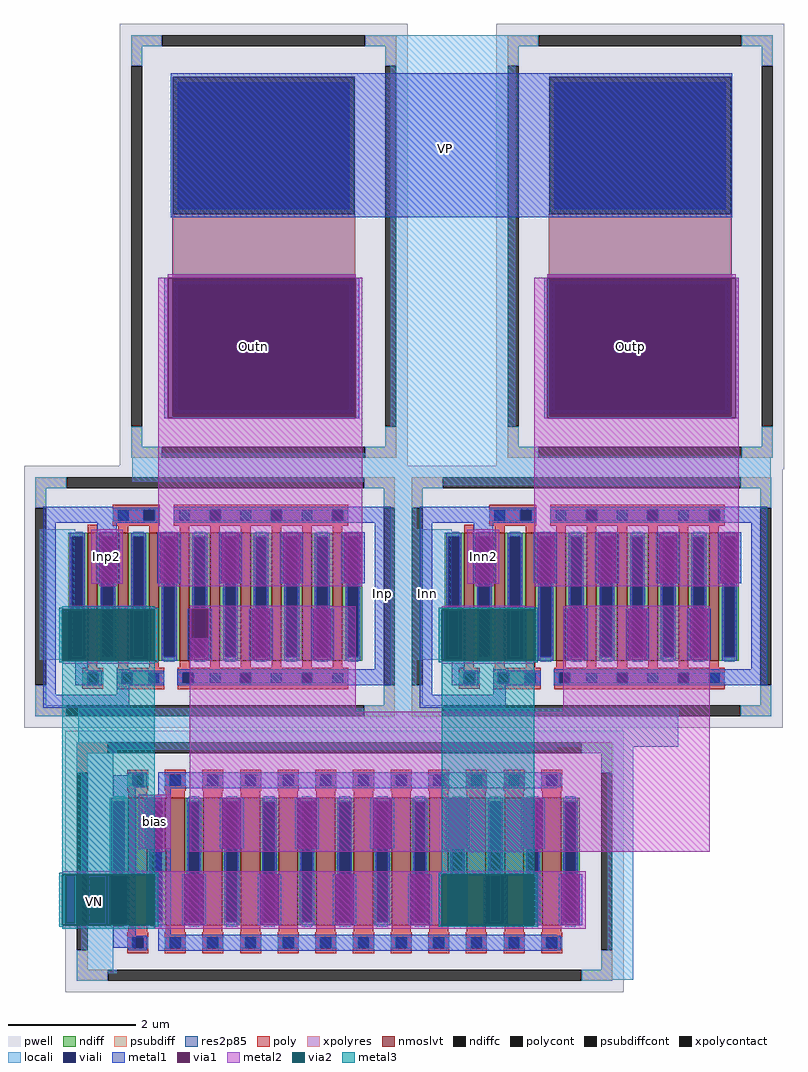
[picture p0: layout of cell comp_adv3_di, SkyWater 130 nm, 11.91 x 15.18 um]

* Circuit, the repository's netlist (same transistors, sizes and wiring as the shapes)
* expanding   symbol:  comp/comp_adv3_di.sym # of pins=9
** sym_path: /home/simon/code/particle_detector/xschem/comp/comp_adv3_di.sym
** sch_path: /home/simon/code/particle_detector/xschem/comp/comp_adv3_di.sch
.subckt comp_adv3_di  VP OutP OutN Inn Inp Inn2 Inp2 bias VN
*.ipin Inp
*.ipin bias
*.ipin Inn
*.iopin VP
*.iopin VN
*.opin OutN
*.opin OutP
*.ipin Inn2
*.ipin Inp2
XM1 OutN Inp VIq VN sky130_fd_pr__nfet_01v8_lvt L=0.15 W=2 nf=1 ad='int((nf+1)/2) * W/nf * 0.29' as='int((nf+2)/2) * W/nf * 0.29'
+ pd='2*int((nf+1)/2) * (W/nf + 0.29)' ps='2*int((nf+2)/2) * (W/nf + 0.29)' nrd='0.29 / W' nrs='0.29 / W'
+ sa=0 sb=0 sd=0 mult=6 m=6
XM2 OutP Inn VIq VN sky130_fd_pr__nfet_01v8_lvt L=0.15 W=2 nf=1 ad='int((nf+1)/2) * W/nf * 0.29' as='int((nf+2)/2) * W/nf * 0.29'
+ pd='2*int((nf+1)/2) * (W/nf + 0.29)' ps='2*int((nf+2)/2) * (W/nf + 0.29)' nrd='0.29 / W' nrs='0.29 / W'
+ sa=0 sb=0 sd=0 mult=6 m=6
XM7 bias bias VN VN sky130_fd_pr__nfet_01v8_lvt L=0.3 W=2 nf=1 ad='int((nf+1)/2) * W/nf * 0.29' as='int((nf+2)/2) * W/nf * 0.29'
+ pd='2*int((nf+1)/2) * (W/nf + 0.29)' ps='2*int((nf+2)/2) * (W/nf + 0.29)' nrd='0.29 / W' nrs='0.29 / W'
+ sa=0 sb=0 sd=0 mult=1 m=1
XM9 VIq bias VN VN sky130_fd_pr__nfet_01v8_lvt L=0.3 W=2 nf=1 ad='int((nf+1)/2) * W/nf * 0.29' as='int((nf+2)/2) * W/nf * 0.29'
+ pd='2*int((nf+1)/2) * (W/nf + 0.29)' ps='2*int((nf+2)/2) * (W/nf + 0.29)' nrd='0.29 / W' nrs='0.29 / W'
+ sa=0 sb=0 sd=0 mult=10 m=10
XR1 OutN VP VN sky130_fd_pr__res_xhigh_po_2p85 L=1 mult=1 m=1
XR2 OutP VP VN sky130_fd_pr__res_xhigh_po_2p85 L=1 mult=1 m=1
XM3 OutN Inp2 VN VN sky130_fd_pr__nfet_01v8_lvt L=0.15 W=2 nf=1 ad='int((nf+1)/2) * W/nf * 0.29' as='int((nf+2)/2) * W/nf * 0.29'
+ pd='2*int((nf+1)/2) * (W/nf + 0.29)' ps='2*int((nf+2)/2) * (W/nf + 0.29)' nrd='0.29 / W' nrs='0.29 / W'
+ sa=0 sb=0 sd=0 mult=1 m=1
XM4 OutP Inn2 VN VN sky130_fd_pr__nfet_01v8_lvt L=0.15 W=2 nf=1 ad='int((nf+1)/2) * W/nf * 0.29' as='int((nf+2)/2) * W/nf * 0.29'
+ pd='2*int((nf+1)/2) * (W/nf + 0.29)' ps='2*int((nf+2)/2) * (W/nf + 0.29)' nrd='0.29 / W' nrs='0.29 / W'
+ sa=0 sb=0 sd=0 mult=1 m=1
XM5 Inn2 Inn2 VN VN sky130_fd_pr__nfet_01v8_lvt L=0.15 W=2 nf=1 ad='int((nf+1)/2) * W/nf * 0.29' as='int((nf+2)/2) * W/nf * 0.29'
+ pd='2*int((nf+1)/2) * (W/nf + 0.29)' ps='2*int((nf+2)/2) * (W/nf + 0.29)' nrd='0.29 / W' nrs='0.29 / W'
+ sa=0 sb=0 sd=0 mult=1 m=1
XM6 Inp2 Inp2 VN VN sky130_fd_pr__nfet_01v8_lvt L=0.15 W=2 nf=1 ad='int((nf+1)/2) * W/nf * 0.29' as='int((nf+2)/2) * W/nf * 0.29'
+ pd='2*int((nf+1)/2) * (W/nf + 0.29)' ps='2*int((nf+2)/2) * (W/nf + 0.29)' nrd='0.29 / W' nrs='0.29 / W'
+ sa=0 sb=0 sd=0 mult=1 m=1
XM8 Inp2 VN VN VN sky130_fd_pr__nfet_01v8_lvt L=0.15 W=2 nf=1 ad='int((nf+1)/2) * W/nf * 0.29' as='int((nf+2)/2) * W/nf * 0.29'
+ pd='2*int((nf+1)/2) * (W/nf + 0.29)' ps='2*int((nf+2)/2) * (W/nf + 0.29)' nrd='0.29 / W' nrs='0.29 / W'
+ sa=0 sb=0 sd=0 mult=1 m=1
XM10 Inn2 VN VN VN sky130_fd_pr__nfet_01v8_lvt L=0.15 W=2 nf=1 ad='int((nf+1)/2) * W/nf * 0.29' as='int((nf+2)/2) * W/nf * 0.29'
+ pd='2*int((nf+1)/2) * (W/nf + 0.29)' ps='2*int((nf+2)/2) * (W/nf + 0.29)' nrd='0.29 / W' nrs='0.29 / W'
+ sa=0 sb=0 sd=0 mult=1 m=1
XM11 bias VN VN VN sky130_fd_pr__nfet_01v8_lvt L=0.3 W=2 nf=1 ad='int((nf+1)/2) * W/nf * 0.29' as='int((nf+2)/2) * W/nf * 0.29'
+ pd='2*int((nf+1)/2) * (W/nf + 0.29)' ps='2*int((nf+2)/2) * (W/nf + 0.29)' nrd='0.29 / W' nrs='0.29 / W'
+ sa=0 sb=0 sd=0 mult=1 m=1
.ends

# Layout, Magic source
magic
tech sky130A
magscale 1 2
<< locali >>
rect 1450 760 1840 2070
rect 640 750 1840 760
rect 640 670 2640 750
rect 1450 660 2640 670
rect 1450 -40 1530 660
rect 470 -160 2350 -40
rect 470 -170 1970 -160
rect 480 -180 590 -170
rect 480 -320 580 -180
rect 480 -720 590 -320
rect 480 -860 580 -720
rect 480 -870 590 -860
rect 2130 -890 2210 -160
<< metal1 >>
rect 760 1500 2520 1950
rect 740 870 750 1310
rect 1340 870 1350 1310
rect 1930 870 1940 1310
rect 2530 870 2540 1310
rect 540 550 590 560
rect 530 510 590 550
rect 540 500 590 510
rect 1710 500 1770 550
rect 580 -790 650 -250
rect 720 -290 1970 -240
rect 720 -310 760 -290
rect 710 -730 760 -310
rect 720 -750 760 -730
rect 720 -800 1970 -750
<< via1 >>
rect 750 870 1340 1310
rect 1940 870 2530 1310
<< metal2 >>
rect 750 1310 1340 1320
rect 1940 1310 2530 1320
rect 720 870 750 1310
rect 1340 870 1360 1310
rect 510 350 610 520
rect 720 350 1360 870
rect 1900 870 1940 1310
rect 2530 870 2540 1310
rect 1690 350 1790 520
rect 1900 350 2540 870
rect 420 270 710 280
rect 920 180 1340 280
rect 420 100 710 110
rect 820 -50 1340 180
rect 1610 270 1900 280
rect 1610 100 1900 110
rect 1990 -50 2450 280
rect 660 -480 760 -310
rect 820 -490 2450 -50
rect 420 -560 2060 -550
rect 710 -720 1610 -560
rect 1900 -720 2060 -560
rect 420 -730 2060 -720
<< via2 >>
rect 420 110 710 270
rect 1610 110 1900 270
rect 420 -720 710 -560
rect 1610 -720 1900 -560
<< metal3 >>
rect 420 275 710 280
rect 410 270 720 275
rect 410 110 420 270
rect 710 110 720 270
rect 410 105 720 110
rect 1600 270 1910 275
rect 1600 110 1610 270
rect 1900 110 1910 270
rect 1600 105 1910 110
rect 420 -555 710 105
rect 1610 -555 1900 105
rect 410 -560 720 -555
rect 410 -720 420 -560
rect 710 -720 720 -560
rect 410 -725 720 -720
rect 1600 -560 1910 -555
rect 1600 -720 1610 -560
rect 1900 -720 1910 -560
rect 1600 -725 1910 -720
rect 420 -730 710 -725
use currm_comp  currm_comp_0
transform 1 0 510 0 1 -890
box -80 -40 1670 780
use diffamp_element  diffamp_element_0
transform 1 0 1060 0 1 -308
box 420 208 1618 1028
use diffamp_element  diffamp_element_1
transform 1 0 -120 0 1 -308
box 420 208 1618 1028
use sky130_fd_pr__res_xhigh_po_2p85_TY94YJ  sky130_fd_pr__res_xhigh_po_2p85_TY94YJ_0
transform 1 0 1051 0 1 1408
box -451 -698 451 698
use sky130_fd_pr__res_xhigh_po_2p85_TY94YJ  sky130_fd_pr__res_xhigh_po_2p85_TY94YJ_1
transform 1 0 2231 0 1 1408
box -451 -698 451 698
<< labels >>
rlabel metal2 510 350 610 520 1 Inp2
rlabel space 1400 240 1450 400 1 Inp
rlabel space 1540 240 1590 400 1 Inn
rlabel metal2 1690 350 1790 520 1 Inn2
rlabel via1 970 1010 1070 1180 1 Outn
rlabel via1 2150 1010 2250 1180 1 Outp
rlabel via2 440 -710 600 -580 1 VN
rlabel metal2 660 -480 760 -310 1 bias
rlabel metal1 1480 1570 1760 1860 1 VP
<< end >>

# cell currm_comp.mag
magic
tech sky130A
magscale 1 2
<< metal1 >>
rect 168 410 178 570
rect 232 410 242 570
rect 404 410 414 570
rect 468 410 478 570
rect 640 410 650 570
rect 704 410 714 570
rect 876 410 886 570
rect 940 410 950 570
rect 1112 410 1122 570
rect 1176 410 1186 570
rect 1348 410 1358 570
rect 1412 410 1422 570
rect 50 170 60 330
rect 114 170 124 330
rect 286 170 296 330
rect 350 170 360 330
rect 522 170 532 330
rect 586 170 596 330
rect 758 170 768 330
rect 822 170 832 330
rect 994 170 1004 330
rect 1058 170 1068 330
rect 1230 170 1240 330
rect 1294 170 1304 330
rect 1466 170 1476 330
rect 1530 170 1540 330
<< via1 >>
rect 178 410 232 570
rect 414 410 468 570
rect 650 410 704 570
rect 886 410 940 570
rect 1122 410 1176 570
rect 1358 410 1412 570
rect 60 170 114 330
rect 296 170 350 330
rect 532 170 586 330
rect 768 170 822 330
rect 1004 170 1058 330
rect 1240 170 1294 330
rect 1476 170 1530 330
<< metal2 >>
rect 178 570 232 580
rect 178 400 232 410
rect 414 570 468 580
rect 414 400 468 410
rect 650 570 704 580
rect 650 400 704 410
rect 886 570 940 580
rect 886 400 940 410
rect 1122 570 1176 580
rect 1122 400 1176 410
rect 1358 570 1412 580
rect 1358 400 1412 410
rect 60 330 114 340
rect 60 160 114 170
rect 296 330 350 340
rect 296 160 350 170
rect 532 330 586 340
rect 532 160 586 170
rect 768 330 822 340
rect 768 160 822 170
rect 1004 330 1058 340
rect 1004 160 1058 170
rect 1240 330 1294 340
rect 1240 160 1294 170
rect 1476 330 1530 340
rect 1476 160 1530 170
use sky130_fd_pr__nfet_01v8_lvt_HR8DH9  sky130_fd_pr__nfet_01v8_lvt_HR8DH9_0
transform 1 0 795 0 1 370
box -875 -410 875 410
<< end >>

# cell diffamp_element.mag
magic
tech sky130A
magscale 1 2
<< pwell >>
rect 748 896 846 906
rect 698 850 846 896
rect 748 840 846 850
rect 890 840 1436 906
rect 710 328 860 396
rect 902 328 1436 396
<< poly >>
rect 748 896 846 906
rect 698 890 846 896
rect 698 856 796 890
rect 830 856 846 890
rect 698 850 846 856
rect 748 840 846 850
rect 890 890 1436 906
rect 890 856 1002 890
rect 1036 856 1194 890
rect 1228 856 1386 890
rect 1420 856 1436 890
rect 890 840 1436 856
rect 710 380 860 396
rect 710 346 726 380
rect 760 346 860 380
rect 710 328 860 346
rect 902 380 1436 396
rect 902 346 918 380
rect 952 346 1098 380
rect 1132 346 1290 380
rect 1324 346 1436 380
rect 902 328 1436 346
<< polycont >>
rect 796 856 830 890
rect 1002 856 1036 890
rect 1194 856 1228 890
rect 1386 856 1420 890
rect 726 346 760 380
rect 918 346 952 380
rect 1098 346 1132 380
rect 1290 346 1324 380
<< locali >>
rect 698 856 796 890
rect 830 856 846 890
rect 890 856 1002 890
rect 1036 856 1194 890
rect 1228 856 1386 890
rect 1420 856 1436 890
rect 470 420 580 830
rect 710 346 726 380
rect 760 346 860 380
rect 902 346 918 380
rect 952 346 1098 380
rect 1132 346 1290 380
rect 1324 346 1436 380
<< viali >>
rect 796 856 830 890
rect 1002 856 1036 890
rect 1194 856 1228 890
rect 1386 856 1420 890
rect 726 346 760 380
rect 918 346 952 380
rect 1098 346 1132 380
rect 1290 346 1324 380
<< metal1 >>
rect 480 896 700 900
rect 480 890 846 896
rect 480 856 796 890
rect 830 856 846 890
rect 480 850 846 856
rect 890 890 1570 900
rect 890 856 1002 890
rect 1036 856 1194 890
rect 1228 856 1386 890
rect 1420 856 1570 890
rect 890 850 1570 856
rect 480 310 520 850
rect 646 660 656 820
rect 710 660 720 820
rect 838 660 848 820
rect 902 660 912 820
rect 1030 660 1040 820
rect 1094 660 1104 820
rect 1222 660 1232 820
rect 1286 660 1296 820
rect 1414 660 1424 820
rect 1478 660 1488 820
rect 550 420 560 580
rect 614 420 624 580
rect 742 420 752 580
rect 806 420 816 580
rect 934 420 944 580
rect 998 420 1008 580
rect 1126 420 1136 580
rect 1190 420 1200 580
rect 1318 420 1328 580
rect 1382 420 1392 580
rect 580 340 620 420
rect 1520 390 1570 850
rect 710 386 750 390
rect 710 380 860 386
rect 710 346 726 380
rect 760 346 860 380
rect 710 340 860 346
rect 900 380 1570 390
rect 900 346 918 380
rect 952 346 1098 380
rect 1132 346 1290 380
rect 1324 346 1570 380
rect 900 340 1570 346
rect 710 310 750 340
rect 480 270 750 310
<< via1 >>
rect 656 660 710 820
rect 848 660 902 820
rect 1040 660 1094 820
rect 1232 660 1286 820
rect 1424 660 1478 820
rect 560 420 614 580
rect 752 420 806 580
rect 944 420 998 580
rect 1136 420 1190 580
rect 1328 420 1382 580
<< metal2 >>
rect 656 820 710 830
rect 656 650 710 660
rect 840 820 1480 830
rect 840 660 848 820
rect 902 660 1040 820
rect 1094 660 1232 820
rect 1286 660 1424 820
rect 1478 660 1480 820
rect 840 650 1480 660
rect 560 580 806 590
rect 614 420 752 580
rect 560 410 806 420
rect 940 580 1382 590
rect 940 420 944 580
rect 998 420 1136 580
rect 1190 420 1328 580
rect 940 410 1382 420
use sky130_fd_pr__nfet_01v8_lvt_DG2JGC  sky130_fd_pr__nfet_01v8_lvt_DG2JGC_0
transform 1 0 1019 0 1 618
box -599 -410 599 410
<< end >>

# cell sky130_fd_pr__res_xhigh_po_2p85_TY94YJ: kit device sky130_fd_pr__res_xhigh_po_2p85, w 2.850 l 1 m 1 nx 1 wmin 2.850 lmin 0.50 rho 2000 val 833.824 dummy 0 dw 0.0 term 188.2 sterm 0.0 caplen 0 wmax 2.850 guard 1 glc 1 grc 1 gtc 1 gbc 1 compatible {sky130_fd_pr__res_xhigh_po_0p35 sky130_fd_pr__res_xhigh_po_0p69 sky130_fd_pr__res_xhigh_po_1p41 sky130_fd_pr__res_xhigh_po_2p85 sky130_fd_pr__res_xhigh_po_5p73} full_metal 1 n_guard 0 hv_guard 0 vias 1 viagb 0 viagt 0 viagl 0 viagr 0

# cell sky130_fd_pr__nfet_01v8_lvt_DG2JGC: kit device sky130_fd_pr__nfet_01v8_lvt, w 2 l 0.150 m 1 nf 9 diffcov 100 polycov 100 guard 1 glc 1 grc 1 gtc 1 gbc 1 tbcov 100 rlcov 100 topc 1 botc 1 poverlap 0 doverlap 1 lmin 0.15 wmin 0.42 compatible {sky130_fd_pr__nfet_01v8 sky130_fd_pr__nfet_01v8_lvt sky130_fd_bs_flash__special_sonosfet_star sky130_fd_pr__nfet_g5v0d10v5 sky130_fd_pr__nfet_05v0_nvt sky130_fd_pr__nfet_03v3_nvt} full_metal 1 viasrc 100 viadrn 100 viagate 100 viagb 0 viagr 0 viagl 0 viagt 0

# cell sky130_fd_pr__nfet_01v8_lvt_HR8DH9: kit device sky130_fd_pr__nfet_01v8_lvt, w 2 l 0.3 m 1 nf 12 diffcov 100 polycov 100 guard 1 glc 1 grc 1 gtc 1 gbc 1 tbcov 100 rlcov 100 topc 1 botc 1 poverlap 0 doverlap 1 lmin 0.15 wmin 0.42 compatible {sky130_fd_pr__nfet_01v8 sky130_fd_pr__nfet_01v8_lvt sky130_fd_bs_flash__special_sonosfet_star sky130_fd_pr__nfet_g5v0d10v5 sky130_fd_pr__nfet_05v0_nvt sky130_fd_pr__nfet_03v3_nvt} full_metal 1 viasrc 100 viadrn 100 viagate 100 viagb 0 viagr 0 viagl 0 viagt 0
